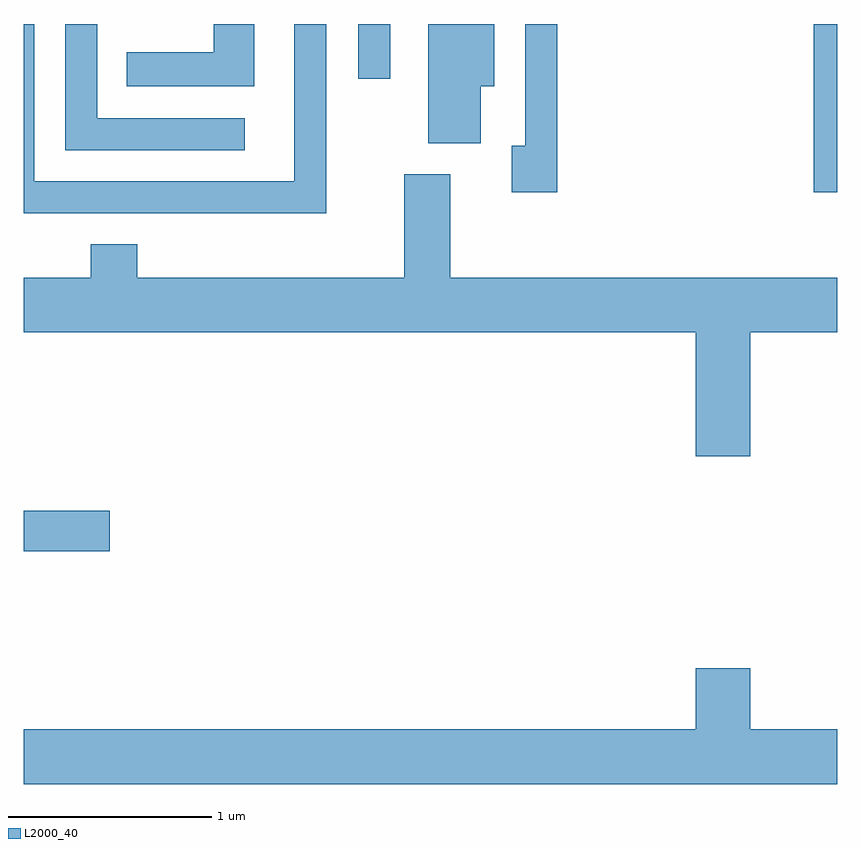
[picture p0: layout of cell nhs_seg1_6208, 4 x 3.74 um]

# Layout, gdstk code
import gdstk
lib = gdstk.Library(unit=1e-6, precision=1e-09)
def R(c, l, rs):  # rectangles x0, y0, x1, y1
    for r in rs: c.add(gdstk.rectangle(r[:2], r[2:], *l))
def P(c, l, *ps):  # polygons
    for p in ps: c.add(gdstk.Polygon(p, *l))
L2000_40 = (2000, 40)

nhs_seg1_6208 = lib.new_cell('nhs_seg1_6208')
R(nhs_seg1_6208, L2000_40, [(371.611,945.121,372.034,945.319), (375.496,946.886,375.611,947.712), (373.256,947.443,373.414,947.712)])
P(nhs_seg1_6208, L2000_40, [(373.859,947.406),(373.924,947.406),(373.924,947.712),(373.601,947.712),(373.601,947.126),(373.859,947.126)],
  [(372.698,947.249),(371.974,947.249),(371.974,947.712),(371.816,947.712),(371.816,947.091),(372.698,947.091)],
  [(374.234,947.712),(374.076,947.712),(374.076,947.114),(374.011,947.114),(374.011,946.886),(374.234,946.886)],
  [(372.744,947.712),(372.546,947.712),(372.546,947.574),(372.118,947.574),(372.118,947.406),(372.744,947.406)],
  [(373.099,947.712),(372.941,947.712),(372.941,946.939),(371.664,946.939),(371.664,947.712),(371.611,947.712),(371.611,946.781),(373.099,946.781)],
  [(375.184,946.196),(375.611,946.196),(375.611,946.464),(373.709,946.464),(373.709,946.974),(373.481,946.974),(373.481,946.464),(372.169,946.464),(372.169,946.629),(371.941,946.629),(371.941,946.464),(371.611,946.464),(371.611,946.196),(374.916,946.196),(374.916,945.586),(375.184,945.586)],
  [(375.611,944.244),(375.184,944.244),(375.184,944.544),(374.916,944.544),(374.916,944.244),(371.611,944.244),(371.611,943.976),(375.611,943.976)])

lib.write_gds('nhs_seg1_6208.gds')
